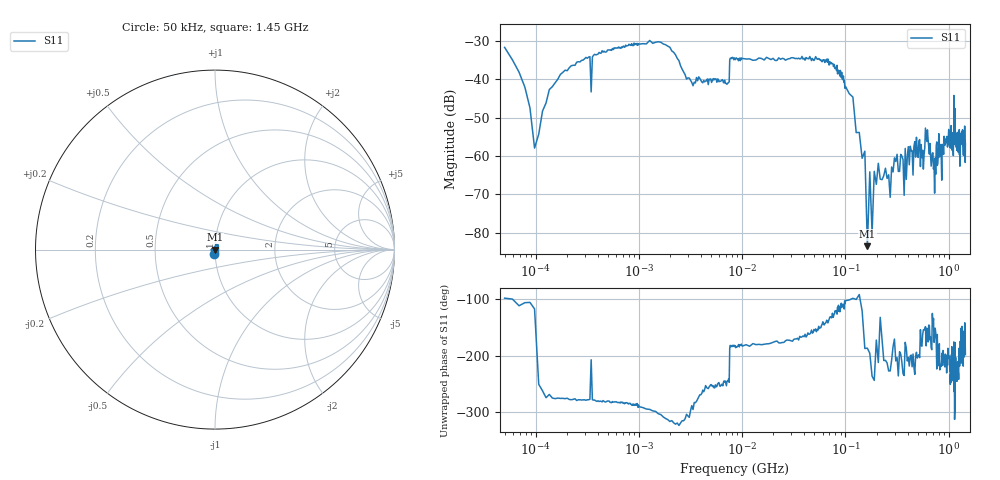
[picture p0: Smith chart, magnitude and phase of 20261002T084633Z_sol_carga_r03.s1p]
! piloto_deriva / sol_carga / r03
# HZ S RI R 50
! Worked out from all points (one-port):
!   501 points, 50 kHz to 1.45 GHz, reference 50 ohm
!   lowest |S11| = -83.5 dB at 163 MHz (marker M1), VSWR 1.00, Z = 50 + j0.0008 ohm
!   |S11| at or under -10 dB: start of sweep to end of sweep
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50000  -0.00363 -0.0259
107000  -0.000627 0.00182
183000  0.00128 0.0123
658000  0.00637 0.0248
1630000  0.0174 0.025
2440000  0.0142 0.0103
3340000  0.0036 0.00743
7030000  -0.00247 0.00841
7750000  -0.0188 0.00132
8560000  -0.0181 0.000754
3.16e7  -0.0188 -0.00294
7.66e7  -0.00948 -0.0112
1.18e8  -0.000836 -0.00582
1.63e8  -6.6e-05 8e-06
1.81e8  -5.4e-05 8.2e-05
2.08e8  -0.000678 0.000429
4.06e8  -0.00122 0.000519
5.68e8  -0.000608 -0.000292
6.13e8  -0.00136 -0.000741
7.3e8  -0.000313 -9.6e-05
8.2e8  -0.000999 0.00101
8.65e8  -0.00137 0.000377
1.063e9  -0.00167 0.000551
1.108e9  -0.000422 0.000918
1.1485e9  0.00116 0.00188
1.189e9  -0.000927 0.00168
1.4185e9  -0.00167 0.000229
1.45e9  -0.00139 0.000459
